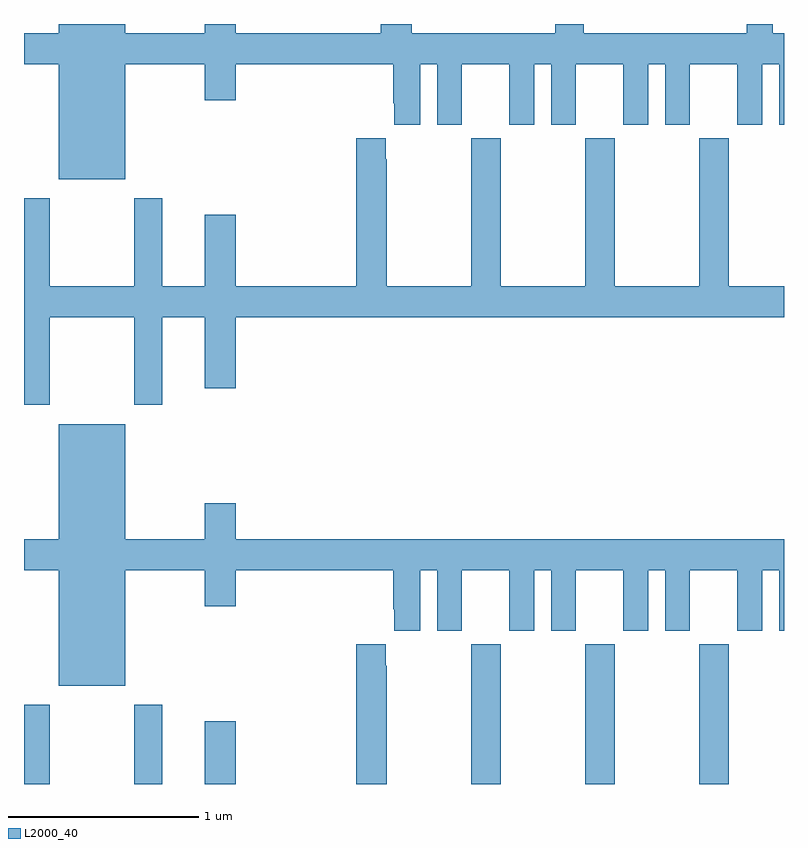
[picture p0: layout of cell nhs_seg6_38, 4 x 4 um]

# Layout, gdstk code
import gdstk
lib = gdstk.Library(unit=1e-6, precision=1e-09)
def R(c, l, rs):  # rectangles x0, y0, x1, y1
    for r in rs: c.add(gdstk.rectangle(r[:2], r[2:], *l))
def A(c, l, x, y, w, h, nx, ny, dx, dy):  # array of equal rectangles
    R(c, l, [(x+i*dx, y+j*dy, x+i*dx+w, y+j*dy+h) for i in range(nx) for j in range(ny)])
def P(c, l, *ps):  # polygons
    for p in ps: c.add(gdstk.Polygon(p, *l))
L2000_40 = (2000, 40)

nhs_seg6_38 = lib.new_cell('nhs_seg6_38')
A(nhs_seg6_38, L2000_40, 113.353, 991.5, 0.155, 0.736, 3, 1, 0.6, 0)
R(nhs_seg6_38, L2000_40, [(111,991.5,111.135,991.918), (111.58,991.5,111.727,991.918), (111.95,991.5,112.114,991.831)])
P(nhs_seg6_38, L2000_40, [(111.532,995.288),(111.95,995.288),(111.95,995.1),(112.114,995.1),(112.114,995.288),(112.943,995.288),(112.943,995.083),(112.949,995.083),(112.949,994.971),(113.086,994.971),(113.086,995.288),(113.174,995.288),(113.174,994.971),(113.305,994.971),(113.305,995.288),(113.555,995.288),(113.555,994.971),(113.686,994.971),(113.686,995.288),(113.774,995.288),(113.774,994.971),(113.905,994.971),(113.905,995.288),(114.155,995.288),(114.155,994.971),(114.286,994.971),(114.286,995.288),(114.374,995.288),(114.374,994.971),(114.505,994.971),(114.505,995.288),(114.755,995.288),(114.755,994.971),(114.886,994.971),(114.886,995.288),(114.974,995.288),(114.974,994.971),(115,994.971),(115,995.452),(114.942,995.452),(114.942,995.5),(114.803,995.5),(114.803,995.452),(113.947,995.452),(113.947,995.5),(113.795,995.5),(113.795,995.452),(113.042,995.452),(113.042,995.5),(112.877,995.5),(112.877,995.452),(112.114,995.452),(112.114,995.5),(111.95,995.5),(111.95,995.452),(111.532,995.452),(111.532,995.5),(111.182,995.5),(111.182,995.452),(111,995.452),(111,995.288),(111.182,995.288),(111.182,994.682),(111.532,994.682)],
  [(111.135,993.956),(111.58,993.956),(111.58,993.495),(111.727,993.495),(111.727,993.956),(111.95,993.956),(111.95,993.582),(112.114,993.582),(112.114,993.956),(115,993.956),(115,994.12),(114.708,994.12),(114.708,994.9),(114.553,994.9),(114.553,994.12),(114.108,994.12),(114.108,994.9),(113.953,994.9),(113.953,994.12),(113.508,994.12),(113.508,994.9),(113.353,994.9),(113.353,994.12),(112.908,994.12),(112.908,994.787),(112.903,994.787),(112.903,994.9),(112.748,994.9),(112.748,994.12),(112.114,994.12),(112.114,994.495),(111.95,994.495),(111.95,994.12),(111.727,994.12),(111.727,994.582),(111.58,994.582),(111.58,994.12),(111.135,994.12),(111.135,994.582),(111,994.582),(111,993.495),(111.135,993.495)],
  [(111.532,992.624),(111.95,992.624),(111.95,992.436),(112.114,992.436),(112.114,992.624),(112.943,992.624),(112.943,992.419),(112.949,992.419),(112.949,992.307),(113.086,992.307),(113.086,992.624),(113.174,992.624),(113.174,992.307),(113.305,992.307),(113.305,992.624),(113.555,992.624),(113.555,992.307),(113.686,992.307),(113.686,992.624),(113.774,992.624),(113.774,992.307),(113.905,992.307),(113.905,992.624),(114.155,992.624),(114.155,992.307),(114.286,992.307),(114.286,992.624),(114.374,992.624),(114.374,992.307),(114.505,992.307),(114.505,992.624),(114.755,992.624),(114.755,992.307),(114.886,992.307),(114.886,992.624),(114.974,992.624),(114.974,992.307),(115,992.307),(115,992.788),(112.114,992.788),(112.114,992.977),(111.95,992.977),(111.95,992.788),(111.532,992.788),(111.532,993.394),(111.182,993.394),(111.182,992.788),(111,992.788),(111,992.624),(111.182,992.624),(111.182,992.018),(111.532,992.018)],
  [(112.908,992.123),(112.903,992.123),(112.903,992.236),(112.748,992.236),(112.748,991.5),(112.908,991.5)])

lib.write_gds('nhs_seg6_38.gds')
